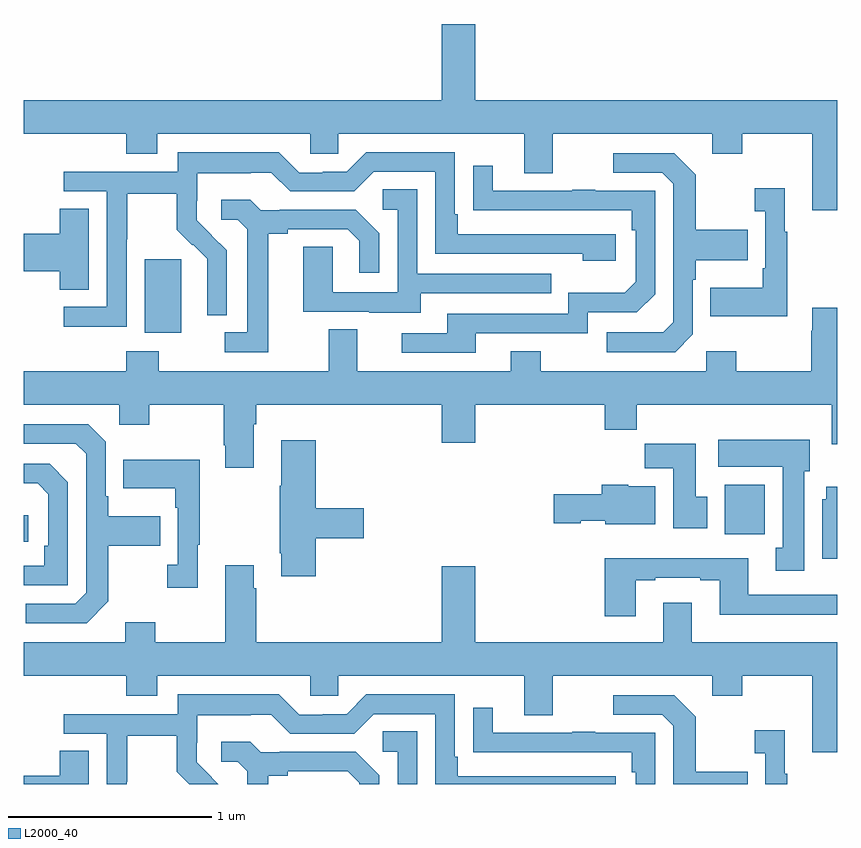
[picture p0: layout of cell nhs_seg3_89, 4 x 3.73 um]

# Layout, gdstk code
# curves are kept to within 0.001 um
import gdstk
lib = gdstk.Library(unit=1e-6, precision=1e-09)
def R(c, l, rs):  # rectangles x0, y0, x1, y1
    for r in rs: c.add(gdstk.rectangle(r[:2], r[2:], *l))
def P(c, l, *ps):  # polygons
    for p in ps: c.add(gdstk.Polygon(p, *l))
L2000_40 = (2000, 40)

nhs_seg3_89 = lib.new_cell('nhs_seg3_89')
R(nhs_seg3_89, L2000_40, [(115,685.59,115.024,685.72), (118.445,685.628,118.642,685.87), (115.595,686.618,115.774,686.979)])
P(nhs_seg3_89, L2000_40, [(119,687.76),(117.22,687.76),(117.22,688.135),(117.056,688.135),(117.056,687.76),(115,687.76),(115,687.596),(115.505,687.596),(115.505,687.497),(115.657,687.497),(115.657,687.596),(116.409,687.596),(116.409,687.498),(116.547,687.498),(116.547,687.596),(117.461,687.596),(117.461,687.402),(117.601,687.402),(117.601,687.596),(118.385,687.596),(118.385,687.497),(118.533,687.497),(118.533,687.596),(118.877,687.596),(118.877,687.219),(119,687.219)],
  [(115.506,687.076),(115.509,687.076),(115.509,687.3),(115.753,687.3),(115.753,687.125),(115.83,687.048),(115.833,687.051),(115.904,686.981),(115.904,686.858),(115.902,686.858),(115.902,686.704),(115.998,686.704),(115.998,687.022),(115.852,687.17),(115.852,687.267),(115.854,687.267),(115.854,687.401),(116.117,687.401),(116.117,687.405),(116.217,687.405),(116.31,687.312),(116.625,687.312),(116.721,687.408),(117.024,687.408),(117.024,687.006),(117.749,687.006),(117.749,686.972),(117.91,686.972),(117.91,687.102),(117.133,687.102),(117.133,687.199),(117.12,687.199),(117.12,687.504),(116.685,687.504),(116.589,687.408),(116.471,687.408),(116.471,687.405),(116.355,687.405),(116.255,687.505),(115.758,687.505),(115.758,687.408),(115.197,687.408),(115.197,687.312),(115.41,687.312),(115.41,686.745),(115.197,686.745),(115.197,686.647),(115.506,686.647)],
  [(118.29,686.61),(118.29,686.879),(118.303,686.879),(118.303,686.975),(118.559,686.975),(118.559,687.123),(118.303,687.123),(118.303,687.395),(118.197,687.501),(117.897,687.501),(117.897,687.405),(118.14,687.405),(118.194,687.351),(118.194,686.67),(118.143,686.619),(117.867,686.619),(117.867,686.523),(118.203,686.523)],
  [(117.223,686.616),(117.774,686.616),(117.774,686.718),(118.014,686.718),(118.104,686.808),(118.104,687.315),(117.809,687.315),(117.809,687.32),(117.697,687.32),(117.697,687.315),(117.307,687.315),(117.307,687.439),(117.211,687.439),(117.211,687.22),(117.988,687.219),(117.988,687.122),(118.008,687.122),(118.008,686.868),(117.955,686.815),(117.678,686.815),(117.678,686.712),(117.083,686.712),(117.083,686.616),(116.859,686.616),(116.859,686.52),(117.223,686.52)],
  [(118.753,687.115),(118.741,687.115),(118.741,687.328),(118.593,687.328),(118.593,687.215),(118.644,687.215),(118.644,686.935),(118.632,686.935),(118.632,686.839),(118.375,686.839),(118.375,686.699),(118.753,686.699)],
  [(116.953,686.811),(117.593,686.811),(117.593,686.907),(116.934,686.907),(116.934,687.323),(116.766,687.323),(116.766,687.222),(116.838,687.222),(116.838,686.817),(116.52,686.817),(116.52,687.041),(116.375,687.041),(116.375,686.721),(116.699,686.721),(116.699,686.717),(116.953,686.717)],
  [(116.203,687.104),(116.299,687.104),(116.299,687.126),(116.594,687.126),(116.651,687.069),(116.651,686.913),(116.748,686.913),(116.748,687.106),(116.632,687.222),(116.26,687.222),(116.26,687.219),(116.166,687.219),(116.114,687.271),(115.971,687.271),(115.971,687.174),(116.052,687.174),(116.099,687.127),(116.099,686.619),(115.989,686.619),(115.989,686.523),(116.203,686.523)],
  [(115.321,687.227),(115.178,687.227),(115.178,687.104),(115,687.104),(115,686.921),(115.178,686.921),(115.178,686.83),(115.321,686.83)],
  [(116.131,686.168),(116.144,686.168),(116.144,686.264),(117.056,686.264),(117.056,686.076),(117.22,686.076),(117.22,686.264),(117.857,686.264),(117.857,686.14),(118.013,686.14),(118.013,686.264),(118.973,686.264),(118.973,686.07),(119,686.07),(119,686.74),(118.877,686.74),(118.877,686.627),(118.87,686.627),(118.87,686.428),(118.503,686.428),(118.503,686.527),(118.356,686.527),(118.356,686.428),(117.543,686.428),(117.543,686.527),(117.395,686.527),(117.395,686.428),(116.641,686.428),(116.641,686.636),(116.501,686.636),(116.501,686.428),(115.665,686.428),(115.665,686.527),(115.505,686.527),(115.505,686.428),(115,686.428),(115,686.264),(115.47,686.264),(115.47,686.165),(115.617,686.165),(115.617,686.264),(115.984,686.264),(115.984,686.065),(115.991,686.065),(115.991,685.953),(116.131,685.953)],
  [(115.417,685.297),(115.417,685.57),(115.673,685.57),(115.673,685.717),(115.417,685.717),(115.417,685.813),(115.404,685.813),(115.404,686.082),(115.317,686.169),(115,686.169),(115,686.073),(115.257,686.073),(115.308,686.022),(115.308,685.341),(115.254,685.287),(115.011,685.287),(115.011,685.191),(115.311,685.191)],
  [(118.837,685.938),(118.864,685.938),(118.864,686.092),(118.413,686.092),(118.413,685.958),(118.73,685.958),(118.73,685.562),(118.697,685.562),(118.697,685.449),(118.837,685.449)],
  [(116.435,685.607),(116.671,685.607),(116.671,685.754),(116.435,685.754),(116.435,686.089),(116.267,686.089),(116.267,685.865),(116.26,685.865),(116.26,685.534),(116.267,685.534),(116.267,685.422),(116.435,685.422)],
  [(118.36,685.812),(118.303,685.812),(118.303,686.071),(118.054,686.071),(118.054,685.952),(118.193,685.952),(118.193,685.656),(118.36,685.656)],
  [(115.855,685.577),(115.867,685.577),(115.867,685.993),(115.489,685.993),(115.489,685.853),(115.746,685.853),(115.746,685.757),(115.758,685.757),(115.758,685.478),(115.707,685.478),(115.707,685.365),(115.855,685.365)],
  [(115.218,685.884),(115.128,685.974),(115,685.974),(115,685.877),(115.069,685.877),(115.122,685.824),(115.122,685.57),(115.102,685.57),(115.102,685.473),(115,685.473),(115,685.377),(115.218,685.377)],
  [(118.105,685.864),(117.972,685.864),(117.972,685.87),(117.842,685.87),(117.842,685.824),(117.606,685.824),(117.606,685.682),(117.738,685.682),(117.738,685.694),(117.858,685.694),(117.858,685.676),(118.105,685.676)],
  [(119,685.861),(118.946,685.861),(118.946,685.8),(118.925,685.8),(118.925,685.508),(119,685.508)],
  [(118.009,685.401),(118.105,685.401),(118.105,685.413),(118.325,685.413),(118.325,685.401),(118.421,685.401),(118.421,685.232),(119,685.232),(119,685.329),(118.561,685.329),(118.561,685.51),(117.857,685.51),(117.857,685.224),(118.009,685.224)],
  [(119,685.096),(118.285,685.096),(118.285,685.291),(118.145,685.291),(118.145,685.096),(117.22,685.096),(117.22,685.471),(117.056,685.471),(117.056,685.096),(116.144,685.096),(116.144,685.361),(116.131,685.361),(116.131,685.474),(115.991,685.474),(115.991,685.096),(115.647,685.096),(115.647,685.195),(115.499,685.195),(115.499,685.096),(115,685.096),(115,684.932),(115.505,684.932),(115.505,684.833),(115.657,684.833),(115.657,684.932),(116.409,684.932),(116.409,684.834),(116.547,684.834),(116.547,684.932),(117.461,684.932),(117.461,684.738),(117.601,684.738),(117.601,684.932),(118.385,684.932),(118.385,684.833),(118.533,684.833),(118.533,684.932),(118.877,684.932),(118.877,684.555),(119,684.555)],
  [(115.506,684.412),(115.509,684.412),(115.509,684.636),(115.753,684.636),(115.753,684.461),(115.814,684.4),(115.956,684.4),(115.852,684.506),(115.852,684.603),(115.854,684.603),(115.854,684.737),(116.117,684.737),(116.117,684.741),(116.217,684.741),(116.31,684.648),(116.625,684.648),(116.721,684.744),(117.024,684.744),(117.024,684.4),(117.91,684.4),(117.91,684.438),(117.133,684.438),(117.133,684.535),(117.12,684.535),(117.12,684.84),(116.685,684.84),(116.589,684.744),(116.471,684.744),(116.471,684.741),(116.355,684.741),(116.255,684.841),(115.758,684.841),(115.758,684.744),(115.197,684.744),(115.197,684.648),(115.41,684.648),(115.41,684.4),(115.506,684.4)],
  [(118.559,684.459),(118.303,684.459),(118.303,684.731),(118.197,684.837),(117.897,684.837),(117.897,684.741),(118.14,684.741),(118.194,684.687),(118.194,684.4),(118.559,684.4)],
  [(118.104,684.651),(117.809,684.651),(117.809,684.656),(117.697,684.656),(117.697,684.651),(117.307,684.651),(117.307,684.775),(117.211,684.775),(117.211,684.556),(117.313,684.556),(117.313,684.555),(117.988,684.555),(117.988,684.458),(118.008,684.458),(118.008,684.4),(118.104,684.4)],
  [(118.753,684.451),(118.741,684.451),(118.741,684.664),(118.593,684.664),(118.593,684.551),(118.644,684.551),(118.644,684.4),(118.753,684.4)],
  [(116.934,684.659),(116.766,684.659),(116.766,684.558),(116.838,684.558),(116.838,684.4),(116.934,684.4)],
  [(116.203,684.44),(116.299,684.44),(116.299,684.462),(116.594,684.462),(116.651,684.405),(116.651,684.4),(116.748,684.4),(116.748,684.442),(116.632,684.558),(116.26,684.558),(116.26,684.555),(116.166,684.555),(116.114,684.607),(115.971,684.607),(115.971,684.51),(116.052,684.51),(116.099,684.463),(116.099,684.4),(116.203,684.4)],
  [(115.321,684.563),(115.178,684.563),(115.178,684.44),(115,684.44),(115,684.4),(115.321,684.4)])

lib.write_gds('nhs_seg3_89.gds')
